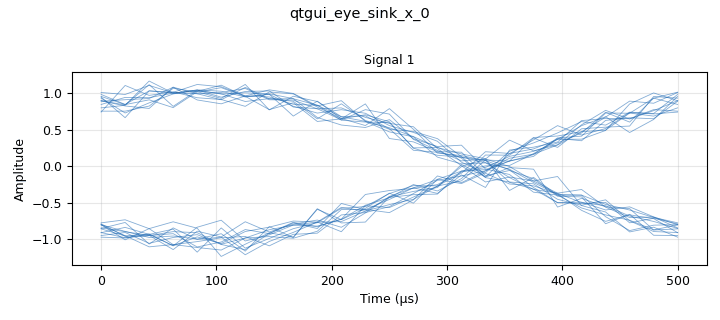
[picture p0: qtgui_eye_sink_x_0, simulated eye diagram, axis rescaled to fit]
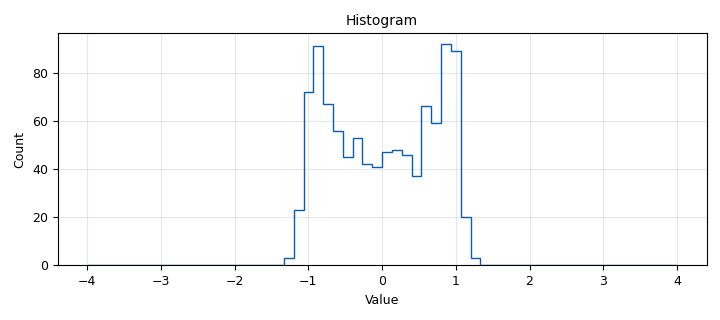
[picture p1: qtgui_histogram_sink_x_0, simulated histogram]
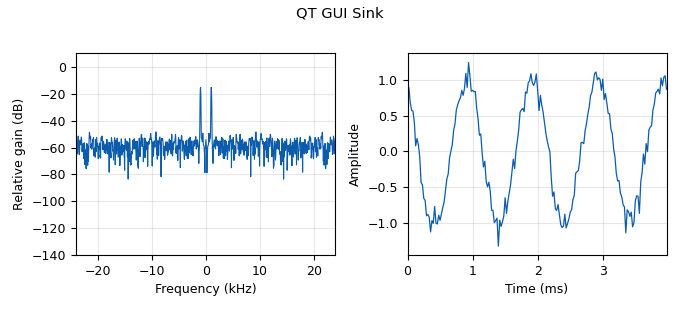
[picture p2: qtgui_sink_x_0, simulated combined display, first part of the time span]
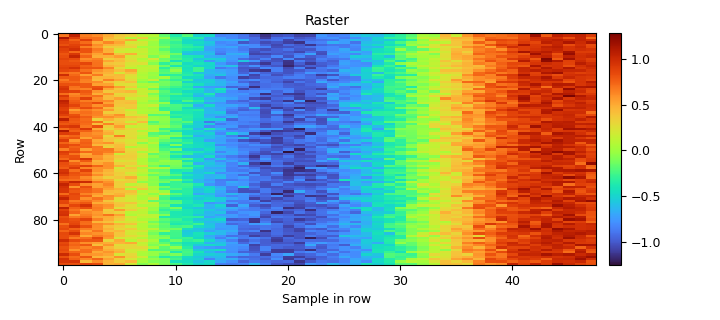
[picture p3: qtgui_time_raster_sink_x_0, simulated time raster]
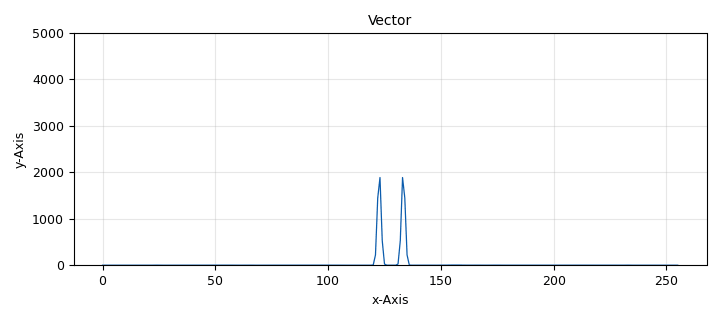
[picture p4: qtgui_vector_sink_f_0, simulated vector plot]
options:
  parameters:
    generate_options: qt_gui
    id: web_float_sinks
    output_language: python
    title: '''Float sinks'''
  states: {}

blocks:
- name: amp
  id: variable_qtgui_entry
  parameters:
    label: '''Amplitude'''
    type: real
    value: '1.0'
  states: {}
- name: boost
  id: variable_qtgui_push_button
  parameters:
    label: '''Hold to boost'''
    pressed: '4'
    released: '1'
    type: int
    value: '1'
  states: {}
- name: samp_rate
  id: variable
  parameters:
    value: '48000'
  states: {}
- name: analog_fastnoise_source_x_0
  id: analog_fastnoise_source_x
  parameters:
    amp: '0.1'
    noise_type: analog.GR_GAUSSIAN
    samples: '8192'
    seed: '0'
    type: float
  states: {}
- name: analog_sig_source_x_0
  id: analog_sig_source_x
  parameters:
    amp: amp*boost
    freq: '1000'
    offset: '0'
    phase: '0'
    samp_rate: samp_rate
    type: float
    waveform: analog.GR_SIN_WAVE
  states: {}
- name: blocks_add_xx_0
  id: blocks_add_xx
  parameters:
    type: float
  states: {}
- name: blocks_complex_to_mag_squared_0
  id: blocks_complex_to_mag_squared
  parameters:
    vlen: '256'
  states: {}
- name: blocks_stream_to_vector_0
  id: blocks_stream_to_vector
  parameters:
    num_items: '256'
    type: float
  states: {}
- name: blocks_throttle2_0
  id: blocks_throttle2
  parameters:
    samples_per_second: samp_rate
    type: float
  states: {}
- name: fft_vxx_0
  id: fft_vxx
  parameters:
    fft_size: '256'
    forward: 'True'
    shift: 'True'
    type: float
    window: window.blackmanharris(256)
  states: {}
- name: qtgui_eye_sink_x_0
  id: qtgui_eye_sink_x
  parameters:
    gui_hint: 1,1
    samp_per_symbol: '12'
    size: '600'
    srate: samp_rate
    type: float
  states: {}
- name: qtgui_histogram_sink_x_0
  id: qtgui_histogram_sink_x
  parameters:
    bins: '60'
    gui_hint: 0,0
    name: '''Histogram'''
    size: '1000'
    type: float
    xmax: '4'
    xmin: '-4'
  states: {}
- name: qtgui_number_sink_0
  id: qtgui_number_sink
  parameters:
    avg: '0.01'
    graph_type: qtgui.NUM_GRAPH_HORIZ
    gui_hint: 0,1
    max: '5'
    min: '-5'
    name: '''Level'''
    type: float
  states: {}
- name: qtgui_sink_x_0
  id: qtgui_sink_x
  parameters:
    bw: samp_rate
    fc: '0'
    fftsize: '1024'
    gui_hint: 3,0,1,2
    name: '''QT GUI Sink'''
    type: float
  states: {}
- name: qtgui_time_raster_sink_x_0
  id: qtgui_time_raster_sink_x
  parameters:
    gui_hint: 1,0
    name: '''Raster'''
    ncols: '48'
    nrows: '100'
    samp_rate: samp_rate
    type: float
    zmax: '3'
    zmin: '-3'
  states: {}
- name: qtgui_vector_sink_f_0
  id: qtgui_vector_sink_f
  parameters:
    gui_hint: 2,0,1,2
    name: '''Vector'''
    vlen: '256'
    x_start: '0'
    x_step: '1.0'
    ymax: '5000'
    ymin: '0'
  states: {}

connections:
- [analog_fastnoise_source_x_0, '0', blocks_add_xx_0, '1']
- [analog_sig_source_x_0, '0', blocks_add_xx_0, '0']
- [blocks_add_xx_0, '0', blocks_throttle2_0, '0']
- [blocks_complex_to_mag_squared_0, '0', qtgui_vector_sink_f_0, '0']
- [blocks_stream_to_vector_0, '0', fft_vxx_0, '0']
- [blocks_throttle2_0, '0', blocks_stream_to_vector_0, '0']
- [blocks_throttle2_0, '0', qtgui_eye_sink_x_0, '0']
- [blocks_throttle2_0, '0', qtgui_histogram_sink_x_0, '0']
- [blocks_throttle2_0, '0', qtgui_number_sink_0, '0']
- [blocks_throttle2_0, '0', qtgui_sink_x_0, '0']
- [blocks_throttle2_0, '0', qtgui_time_raster_sink_x_0, '0']
- [fft_vxx_0, '0', blocks_complex_to_mag_squared_0, '0']

metadata:
  file_format: 1
  grc_version: 3.10.12.0
